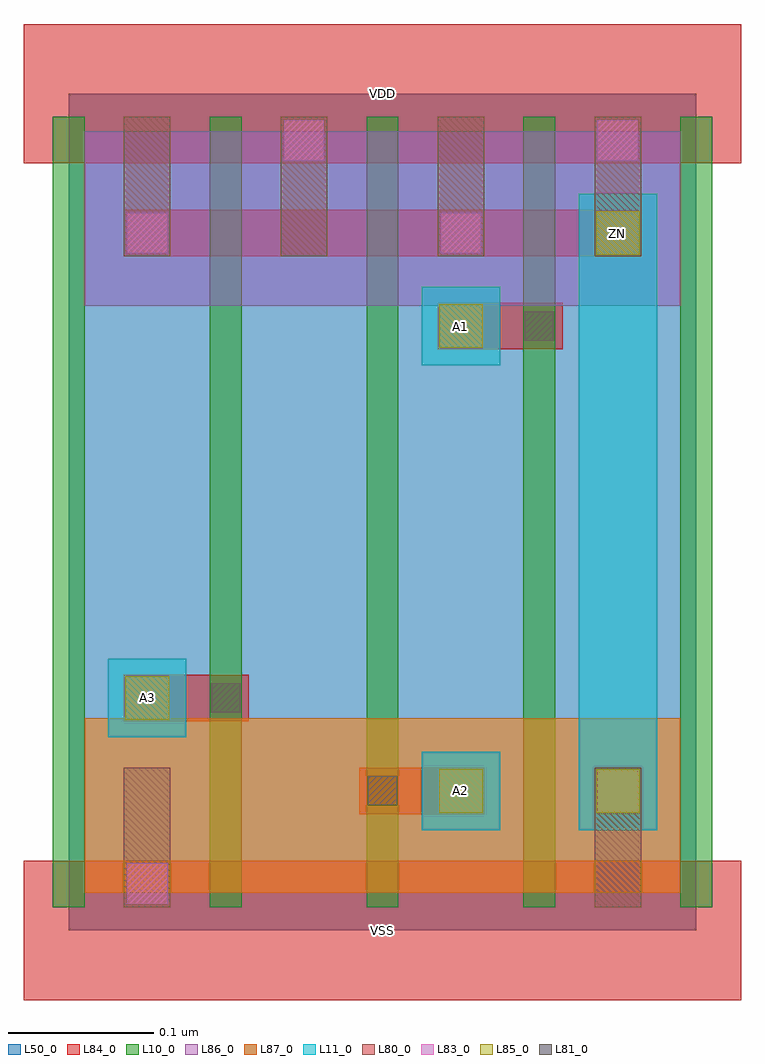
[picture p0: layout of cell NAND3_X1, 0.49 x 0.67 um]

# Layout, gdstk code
import gdstk
lib = gdstk.Library(unit=1e-6, precision=1e-09)
def R(c, l, rs):  # rectangles x0, y0, x1, y1
    for r in rs: c.add(gdstk.rectangle(r[:2], r[2:], *l))
def A(c, l, x, y, w, h, nx, ny, dx, dy):  # array of equal rectangles
    R(c, l, [(x+i*dx, y+j*dy, x+i*dx+w, y+j*dy+h) for i in range(nx) for j in range(ny)])
L10_0 = (10, 0)
L11_0 = (11, 0)
L50_0 = (50, 0)
L80_0 = (80, 0)
L81_0 = (81, 0)
L83_0 = (83, 0)
L84_0 = (84, 0)
L85_0 = (85, 0)
L86_0 = (86, 0)
L87_0 = (87, 0)

nand3_x1 = lib.new_cell('NAND3_X1')
A(nand3_x1, L10_0, -0.011, 0.016, 0.022, 0.544, 5, 1, 0.108, 0)
R(nand3_x1, L11_0, [(0.243,0.069,0.297,0.123), (0.351,0.069,0.405,0.507), (0.027,0.133,0.081,0.187), (0.243,0.389,0.297,0.443)])
R(nand3_x1, L50_0, [(0,0,0.432,0.576)])
A(nand3_x1, L80_0, 0.038, 0.464, 0.032, 0.096, 4, 1, 0.108, 0)
R(nand3_x1, L80_0, [(0.038,0.016,0.07,0.112), (0.362,0.016,0.394,0.112)])
R(nand3_x1, L81_0, [(0.206,0.086,0.226,0.106), (0.098,0.15,0.118,0.17), (0.314,0.406,0.334,0.426)])
R(nand3_x1, L83_0, [(0.04,0.018,0.068,0.046), (0.364,0.082,0.392,0.11), (0.04,0.466,0.068,0.494), (0.256,0.466,0.284,0.494), (0.148,0.53,0.176,0.558), (0.364,0.53,0.392,0.558)])
R(nand3_x1, L84_0, [(-0.031,-0.048,0.463,0.048), (0.2,0.08,0.286,0.112), (0.362,0.08,0.394,0.112), (0.038,0.144,0.124,0.176), (0.254,0.4,0.34,0.432), (0.038,0.464,0.394,0.496), (-0.031,0.528,0.463,0.624)])
R(nand3_x1, L85_0, [(0.255,0.081,0.285,0.111), (0.363,0.081,0.393,0.111), (0.039,0.145,0.069,0.175), (0.255,0.401,0.285,0.431), (0.363,0.465,0.393,0.495)])
R(nand3_x1, L86_0, [(0.011,0.43,0.421,0.55)])
R(nand3_x1, L87_0, [(0.011,0.026,0.421,0.146)])
nand3_x1.add(gdstk.Label('VDD', (0.216,0.576), layer=88, texttype=0))
nand3_x1.add(gdstk.Label('VSS', (0.216,0), layer=88, texttype=0))
nand3_x1.add(gdstk.Label('ZN', (0.378,0.48), layer=31, texttype=0))
nand3_x1.add(gdstk.Label('A3', (0.054,0.16), layer=31, texttype=0))
nand3_x1.add(gdstk.Label('A2', (0.27,0.096), layer=31, texttype=0))
nand3_x1.add(gdstk.Label('A1', (0.27,0.416), layer=31, texttype=0))

lib.write_gds('NAND3_X1.gds')
